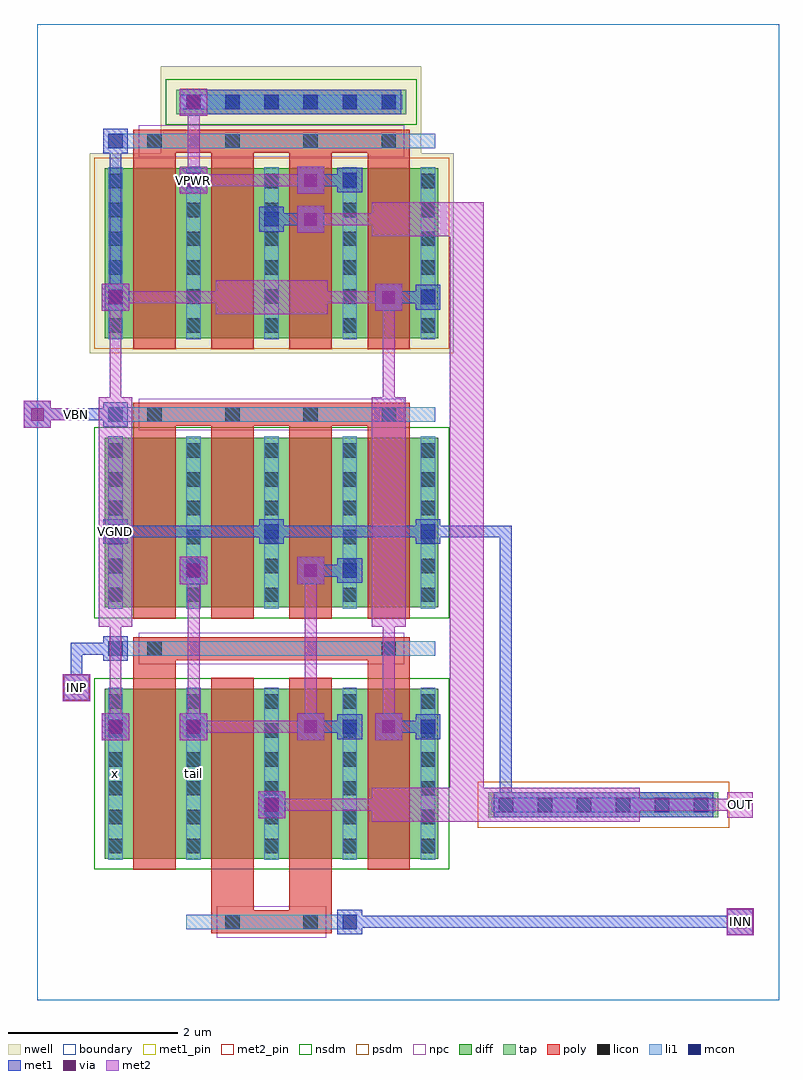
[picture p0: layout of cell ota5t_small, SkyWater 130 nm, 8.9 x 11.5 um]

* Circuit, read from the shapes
.subckt ota5t_small INN INP OUT VBN VGND VPWR tail x
XM1 tail INP x VGND sky130_fd_pr__nfet_01v8 w=2 l=0.5 m=2
XM2 tail VBN VGND VGND sky130_fd_pr__nfet_01v8 w=2 l=0.5 m=4
XM3 OUT INN tail VGND sky130_fd_pr__nfet_01v8 w=2 l=0.5 m=2
XM4 VPWR x x VPWR sky130_fd_pr__pfet_01v8 w=2 l=0.5 m=2
XM5 OUT x VPWR VPWR sky130_fd_pr__pfet_01v8 w=2 l=0.5 m=2
.ends

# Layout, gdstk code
import gdstk
lib = gdstk.Library(unit=1e-6, precision=1e-09)
def R(c, l, rs):  # rectangles x0, y0, x1, y1
    for r in rs: c.add(gdstk.rectangle(r[:2], r[2:], *l))
def A(c, l, x, y, w, h, nx, ny, dx, dy):  # array of equal rectangles
    R(c, l, [(x+i*dx, y+j*dy, x+i*dx+w, y+j*dy+h) for i in range(nx) for j in range(ny)])
nwell = (64, 20)
diff = (65, 20)
tap = (65, 44)
poly = (66, 20)
licon = (66, 44)
li1 = (67, 20)
mcon = (67, 44)
met1_pin = (68, 16)
met1 = (68, 20)
via = (68, 44)
met2_pin = (69, 16)
met2 = (69, 20)
nsdm = (93, 44)
psdm = (94, 20)
npc = (95, 20)
boundary = (235, 4)

ota5t_small = lib.new_cell('ota5t_small')
R(ota5t_small, nwell, [(0.615,7.62,4.905,9.98), (1.455,9.98,4.525,11)])
R(ota5t_small, diff, [(0.795,1.665,4.725,3.665), (0.795,4.625,4.725,6.625), (0.795,7.8,4.725,9.8)])
R(ota5t_small, tap, [(5.315,2.155,8.025,2.445), (1.635,10.435,4.345,10.725)])
A(ota5t_small, poly, 1.13, 4.495, 0.5, 2.405, 4, 1, 0.92, 0)
A(ota5t_small, poly, 1.13, 7.67, 0.5, 2.45, 4, 1, 0.92, 0)
R(ota5t_small, poly, [(2.05,0.785,3.47,1.055), (2.05,0.92,2.55,3.795), (2.97,0.92,3.47,3.795), (1.13,1.535,1.63,4.14), (3.89,1.535,4.39,4.14), (1.13,4.005,4.39,4.275), (1.13,6.765,4.39,7.035), (1.13,9.985,4.39,10.255)])
A(ota5t_small, licon, 0.835, 1.73, 0.17, 0.17, 5, 6, 0.92, 0.34)
A(ota5t_small, licon, 5.435, 2.215, 0.17, 0.17, 6, 1, 0.46, 0)
A(ota5t_small, licon, 0.835, 4.69, 0.17, 0.17, 5, 6, 0.92, 0.34)
A(ota5t_small, licon, 1.295, 6.815, 0.17, 0.17, 4, 2, 0.92, 3.22)
A(ota5t_small, licon, 0.835, 7.865, 0.17, 0.17, 5, 6, 0.92, 0.34)
A(ota5t_small, licon, 1.755, 10.495, 0.17, 0.17, 6, 1, 0.46, 0)
R(ota5t_small, licon, [(2.215,0.835,2.385,1.005), (3.135,0.835,3.305,1.005), (1.295,4.055,1.465,4.225), (4.055,4.055,4.225,4.225)])
A(ota5t_small, li1, 0.835, 1.65, 0.17, 2.03, 5, 2, 0.92, 2.96)
A(ota5t_small, li1, 0.835, 7.785, 0.17, 2.03, 5, 1, 0.92, 0)
R(ota5t_small, li1, [(1.755,0.835,3.765,1.005), (5.355,2.215,7.985,2.385), (0.835,4.055,4.685,4.225), (0.835,6.815,4.685,6.985), (0.835,10.035,4.685,10.205), (1.675,10.495,4.305,10.665)])
A(ota5t_small, mcon, 5.435, 2.215, 0.17, 0.17, 6, 1, 0.46, 0)
A(ota5t_small, mcon, 0.835, 5.435, 0.17, 0.17, 3, 1, 1.84, 0)
A(ota5t_small, mcon, 1.755, 10.495, 0.17, 0.17, 6, 1, 0.46, 0)
R(ota5t_small, mcon, [(3.595,0.835,3.765,1.005), (2.675,2.215,2.845,2.385), (0.835,3.135,1.005,3.305), (1.755,3.135,1.925,3.305), (3.595,3.135,3.765,3.305), (4.515,3.135,4.685,3.305), (0.835,4.055,1.005,4.225), (1.755,4.975,1.925,5.145), (3.595,4.975,3.765,5.145), (0.835,6.815,1.005,6.985), (0.835,8.195,1.005,8.365), (4.515,8.195,4.685,8.365), (2.675,9.115,2.845,9.285), (1.755,9.575,1.925,9.745), (3.595,9.575,3.765,9.745), (0.835,10.035,1.005,10.205)])
R(ota5t_small, met1_pin, [(0.775,5.375,1.065,5.665), (1.695,9.515,1.985,9.805)])
A(ota5t_small, met1, 0.775, 5.375, 0.29, 0.29, 3, 1, 1.84, 0)
R(ota5t_small, met1, [(8.12,0.76,8.44,1.08), (3.535,0.775,3.825,1.065), (3.61,0.85,8.35,0.99), (2.6,2.14,2.92,2.46), (2.615,2.155,2.905,2.445), (5.375,2.155,7.965,2.445), (5.45,2.23,5.59,2.37), (5.45,2.23,5.59,5.59), (0.76,3.06,1.08,3.38), (1.68,3.06,2,3.38), (3.06,3.06,3.38,3.38), (3.98,3.06,4.3,3.38), (0.775,3.075,1.065,3.365), (1.695,3.075,1.985,3.365), (3.535,3.075,3.825,3.365), (4.455,3.075,4.745,3.365), (3.15,3.15,3.75,3.29), (4.07,3.15,4.67,3.29), (0.3,3.52,0.62,3.84), (0.39,3.61,0.53,4.21), (0.775,3.995,1.065,4.285), (0.39,4.07,0.99,4.21), (1.68,4.9,2,5.22), (3.06,4.9,3.38,5.22), (1.695,4.915,1.985,5.205), (3.535,4.915,3.825,5.205), (3.15,4.99,3.75,5.13), (0.85,5.45,2.83,5.59), (2.69,5.45,4.67,5.59), (4.53,5.45,5.59,5.59), (-0.16,6.74,0.16,7.06), (0.775,6.755,1.065,7.045), (-0.07,6.83,0.99,6.97), (0.76,8.12,1.08,8.44), (3.98,8.12,4.3,8.44), (0.775,8.135,1.065,8.425), (4.455,8.135,4.745,8.425), (0.85,8.21,0.99,10.19), (4.07,8.21,4.67,8.35), (3.06,9.04,3.38,9.36), (2.615,9.055,2.905,9.345), (2.69,9.13,3.29,9.27), (1.68,9.5,2,9.82), (3.06,9.5,3.38,9.82), (1.695,9.515,1.985,9.805), (3.535,9.515,3.825,9.805), (3.15,9.59,3.75,9.73), (0.775,9.975,1.065,10.265), (1.68,10.42,2,10.74), (1.695,10.435,4.285,10.725), (1.77,10.51,1.91,10.65)])
R(ota5t_small, via, [(8.205,0.845,8.355,0.995), (2.685,2.225,2.835,2.375), (0.845,3.145,0.995,3.295), (1.765,3.145,1.915,3.295), (3.145,3.145,3.295,3.295), (4.065,3.145,4.215,3.295), (0.385,3.605,0.535,3.755), (1.765,4.985,1.915,5.135), (3.145,4.985,3.295,5.135), (-0.075,6.825,0.075,6.975), (0.845,8.205,0.995,8.355), (4.065,8.205,4.215,8.355), (3.145,9.125,3.295,9.275), (1.765,9.585,1.915,9.735), (3.145,9.585,3.295,9.735), (1.765,10.505,1.915,10.655)])
R(ota5t_small, met2_pin, [(8.13,0.77,8.43,1.07), (8.13,2.15,8.43,2.45), (0.31,3.53,0.61,3.83), (0.39,6.83,0.53,6.97)])
R(ota5t_small, met2, [(8.12,0.76,8.44,1.08), (8.13,0.77,8.43,1.07), (8.21,0.85,8.35,0.99), (3.94,2.1,7.1,2.5), (4.86,2.1,5.26,9.4), (2.6,2.14,2.92,2.46), (8.13,2.15,8.43,2.45), (2.69,2.23,4.21,2.37), (6.83,2.23,8.35,2.37), (8.21,2.23,8.35,2.37), (0.76,3.06,1.08,3.38), (1.68,3.06,2,3.38), (3.06,3.06,3.38,3.38), (3.98,3.06,4.3,3.38), (0.85,3.15,0.99,4.67), (1.77,3.15,1.91,5.13), (1.77,3.15,3.29,3.29), (3.15,3.15,3.29,5.13), (4.07,3.15,4.21,4.67), (0.3,3.52,0.62,3.84), (0.31,3.53,0.61,3.83), (0.39,3.61,0.53,3.75), (0.72,4.4,1.12,7.1), (3.94,4.4,4.34,7.1), (1.68,4.9,2,5.22), (3.06,4.9,3.38,5.22), (-0.16,6.74,0.16,7.06), (-0.07,6.83,0.53,6.97), (0.39,6.83,0.53,6.97), (0.85,6.83,0.99,8.35), (4.07,6.83,4.21,8.35), (2.1,8.08,3.42,8.48), (0.76,8.12,1.08,8.44), (3.98,8.12,4.3,8.44), (0.85,8.21,2.37,8.35), (3.15,8.21,4.21,8.35), (3.94,9,5.26,9.4), (3.06,9.04,3.38,9.36), (3.15,9.13,4.21,9.27), (1.68,9.5,2,9.82), (3.06,9.5,3.38,9.82), (1.77,9.59,3.29,9.73), (1.77,9.59,1.91,10.65), (1.68,10.42,2,10.74)])
R(ota5t_small, nsdm, [(0.67,1.54,4.85,3.79), (0.67,4.5,4.85,6.75), (1.51,10.31,4.47,10.85)])
R(ota5t_small, psdm, [(5.19,2.03,8.15,2.57), (0.67,7.675,4.85,9.925)])
R(ota5t_small, npc, [(2.115,0.735,3.405,1.105), (1.195,3.955,4.325,4.325), (1.195,6.715,4.325,7.085), (1.195,9.935,4.325,10.305)])
R(ota5t_small, boundary, [(0,0,8.74,11.5)])
ota5t_small.add(gdstk.Label('x', (0.92,2.665), layer=67, texttype=5))
ota5t_small.add(gdstk.Label('tail', (1.84,2.665), layer=67, texttype=5))
ota5t_small.add(gdstk.Label('VPWR', (1.84,9.66), layer=68, texttype=5))
ota5t_small.add(gdstk.Label('VGND', (0.92,5.52), layer=68, texttype=5))
ota5t_small.add(gdstk.Label('INP', (0.46,3.68), layer=69, texttype=5))
ota5t_small.add(gdstk.Label('INN', (8.28,0.92), layer=69, texttype=5))
ota5t_small.add(gdstk.Label('VBN', (0.46,6.9), layer=69, texttype=5))
ota5t_small.add(gdstk.Label('OUT', (8.28,2.3), layer=69, texttype=5))
ota5t_small.add(gdstk.Label('VPWR', (1.84,9.66), layer=68, texttype=16))
ota5t_small.add(gdstk.Label('VGND', (0.92,5.52), layer=68, texttype=16))
ota5t_small.add(gdstk.Label('INP', (0.46,3.68), layer=69, texttype=16))
ota5t_small.add(gdstk.Label('INN', (8.28,0.92), layer=69, texttype=16))
ota5t_small.add(gdstk.Label('VBN', (0.46,6.9), layer=69, texttype=16))
ota5t_small.add(gdstk.Label('OUT', (8.28,2.3), layer=69, texttype=16))

lib.write_gds('ota5t_small.gds')
